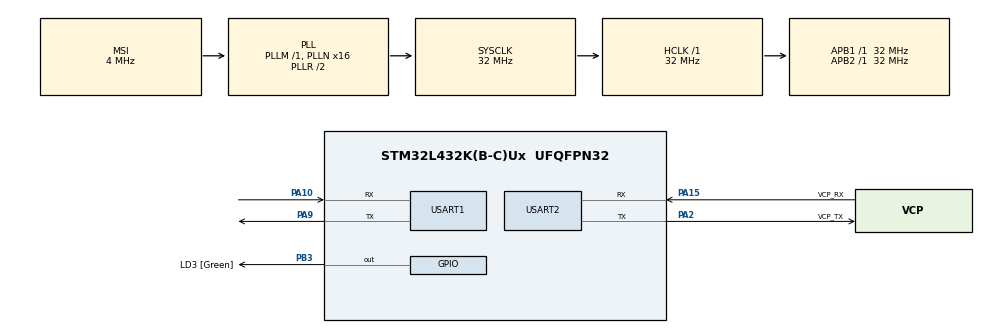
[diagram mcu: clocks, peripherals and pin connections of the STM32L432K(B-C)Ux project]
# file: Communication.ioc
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Mcu.Family=STM32L4
Mcu.Name=STM32L432K(B-C)Ux
Mcu.Package=UFQFPN32
NVIC.PriorityGroup=NVIC_PRIORITYGROUP_4
NVIC.USART1_IRQn=true\:0\:0\:false\:false\:true
NVIC.USART2_IRQn=true\:0\:0\:false\:false\:true
PA0.GPIO_Label=MCO [High speed clock in]
PA0.Signal=RCC_CK_IN
PA10.Mode=Asynchronous
PA10.Signal=USART1_RX
PA13\ (JTMS-SWDIO).GPIO_Label=SWDIO
PA13\ (JTMS-SWDIO).Signal=SYS_JTMS-SWDIO
PA14\ (JTCK-SWCLK).GPIO_Label=SWCLK
PA14\ (JTCK-SWCLK).Signal=SYS_JTCK-SWCLK
PA15\ (JTDI).GPIO_Label=VCP_RX
PA15\ (JTDI).Mode=Asynchronous
PA15\ (JTDI).Signal=USART2_RX
PA2.GPIO_Label=VCP_TX
PA2.Mode=Asynchronous
PA2.Signal=USART2_TX
PA9.Mode=Asynchronous
PA9.Signal=USART1_TX
PB3\ (JTDO-TRACESWO).GPIO_Label=LD3 [Green]
PB3\ (JTDO-TRACESWO).Signal=GPIO_Output
PC14-OSC32_IN\ (PC14).Signal=RCC_OSC32_IN
PC15-OSC32_OUT\ (PC15).Signal=RCC_OSC32_OUT
ProjectManager.HeapSize=0x200
ProjectManager.StackSize=0x400
ProjectManager.TargetToolchain=SW4STM32
RCC.AHBFreq_Value=32000000
RCC.APB1Freq_Value=32000000
RCC.APB1TimFreq_Value=32000000
RCC.APB2Freq_Value=32000000
RCC.APB2TimFreq_Value=32000000
RCC.CortexFreq_Value=32000000
RCC.HCLKFreq_Value=32000000
RCC.HSE_VALUE=8000000
RCC.HSI16_VALUE=16000000
RCC.HSI48_VALUE=48000000
RCC.HSI_VALUE=16000000
RCC.LSE_VALUE=32768
RCC.MSI_VALUE=4000000
RCC.PLLMUL=RCC_PLLMUL_4
RCC.PLLN=16
RCC.SYSCLKFreq_VALUE=32000000
RCC.SYSCLKSource=RCC_SYSCLKSOURCE_PLLCLK
RCC.VCOOutputFreq_Value=64000000
USART1.VirtualMode-Asynchronous=VM_ASYNC
USART1.WordLength=WORDLENGTH_8B
USART2.VirtualMode-Asynchronous=VM_ASYNC
USART2.WordLength=WORDLENGTH_8B
board=NUCLEO-L432KC

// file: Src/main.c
/**
  ******************************************************************************
  * File Name          : main.c
  * Description        : Main program body
  ******************************************************************************
  ** This notice applies to any and all portions of this file
  * that are not between comment pairs USER CODE BEGIN and
  * USER CODE END. Other portions of this file, whether
  * inserted by the user or by software development tools
  * are owned by their respective copyright owners.
  *
  * COPYRIGHT(c) 2018 STMicroelectronics
  *
  * Redistribution and use in source and binary forms, with or without modification,
  * are permitted provided that the following conditions are met:
  *   1. Redistributions of source code must retain the above copyright notice,
  *      this list of conditions and the following disclaimer.
  *   2. Redistributions in binary form must reproduce the above copyright notice,
  *      this list of conditions and the following disclaimer in the documentation
  *      and/or other materials provided with the distribution.
  *   3. Neither the name of STMicroelectronics nor the names of its contributors
  *      may be used to endorse or promote products derived from this software
  *      without specific prior written permission.
  *
  * THIS SOFTWARE IS PROVIDED BY THE COPYRIGHT HOLDERS AND CONTRIBUTORS "AS IS"
  * AND ANY EXPRESS OR IMPLIED WARRANTIES, INCLUDING, BUT NOT LIMITED TO, THE
  * IMPLIED WARRANTIES OF MERCHANTABILITY AND FITNESS FOR A PARTICULAR PURPOSE ARE
  * DISCLAIMED. IN NO EVENT SHALL THE COPYRIGHT HOLDER OR CONTRIBUTORS BE LIABLE
  * FOR ANY DIRECT, INDIRECT, INCIDENTAL, SPECIAL, EXEMPLARY, OR CONSEQUENTIAL
  * DAMAGES (INCLUDING, BUT NOT LIMITED TO, PROCUREMENT OF SUBSTITUTE GOODS OR
  * SERVICES; LOSS OF USE, DATA, OR PROFITS; OR BUSINESS INTERRUPTION) HOWEVER
  * CAUSED AND ON ANY THEORY OF LIABILITY, WHETHER IN CONTRACT, STRICT LIABILITY,
  * OR TORT (INCLUDING NEGLIGENCE OR OTHERWISE) ARISING IN ANY WAY OUT OF THE USE
  * OF THIS SOFTWARE, EVEN IF ADVISED OF THE POSSIBILITY OF SUCH DAMAGE.
  *
  ******************************************************************************
  */
#include "main.h"
#include "stm32l4xx_hal.h"

/* USER CODE BEGIN Includes */
#include <robotGoal.h>
#include <robotState.h>
#include "serial.h"
#include "string.h"
/* USER CODE END Includes */

UART_HandleTypeDef huart1;
UART_HandleTypeDef huart2;

/* USER CODE BEGIN PV */
/* Private variables ---------------------------------------------------------*/
volatile uint8_t ledState;
uint8_t replying;
uint8_t connected;
RobotGoal robotGoal;
RobotGoal *robotGoalPtr;
uint8_t robotGoalBuffer[sizeof(RobotGoal)];

RobotState robotState, *robotStatePtr;

/* USER CODE END PV */

void SystemClock_Config(void);
static void MX_GPIO_Init(void);
static void MX_USART2_UART_Init(void);
static void MX_USART1_UART_Init(void);

/* USER CODE BEGIN PFP */
/* Private function prototypes -----------------------------------------------*/

/* USER CODE END PFP */

int main(void)
{

  /* MCU Configuration----------------------------------------------------------*/

  /* Reset of all peripherals, Initializes the Flash interface and the Systick. */
  HAL_Init();

  /* Configure the system clock */
  SystemClock_Config();

  /* Initialize all configured peripherals */
  MX_GPIO_Init();
  MX_USART2_UART_Init();
  MX_USART1_UART_Init();

  /* USER CODE BEGIN 2 */

	// Blink the LED
	ledState = 0;
	replying = 0;
	connected = 0;

	// Recieving
	robotGoal.id = 0;
	robotGoalPtr = &robotGoal;
	memset(robotGoal.msg,0,strlen(robotGoal.msg));
	HAL_UART_Receive_IT(&huart1, (uint8_t *) robotGoalPtr, sizeof(RobotGoal));

	// Sending
	robotState.id = 1;
	robotStatePtr = &robotState;
	memset(robotState.msg,0,strlen(robotState.msg));

  /* USER CODE END 2 */

  /* Infinite loop */
	while (1) {

  /* USER CODE BEGIN 3 */

		if (!connected) {
			ledState = !ledState;
			HAL_GPIO_WritePin(LD3_GPIO_Port, LD3_Pin, ledState);
			sprintf(robotState.msg, "START");
			send_state(robotStatePtr);
			HAL_Delay(1000);
		}
		else {
			sprintf(robotState.msg, "NACK");
			send_state(robotStatePtr);
			HAL_UART_Receive_IT(&huart1, (uint8_t *) robotGoalPtr, sizeof(RobotGoal));
			HAL_Delay(1000);
		}
	}
  /* USER CODE END 3 */

}

/** System Clock Configuration
*/
void SystemClock_Config(void)
{

  RCC_OscInitTypeDef RCC_OscInitStruct;
  RCC_ClkInitTypeDef RCC_ClkInitStruct;
  RCC_PeriphCLKInitTypeDef PeriphClkInit;

    /**Initializes the CPU, AHB and APB busses clocks
    */
  RCC_OscInitStruct.OscillatorType = RCC_OSCILLATORTYPE_MSI;
  RCC_OscInitStruct.MSIState = RCC_MSI_ON;
  RCC_OscInitStruct.MSICalibrationValue = 0;
  RCC_OscInitStruct.MSIClockRange = RCC_MSIRANGE_6;
  RCC_OscInitStruct.PLL.PLLState = RCC_PLL_ON;
  RCC_OscInitStruct.PLL.PLLSource = RCC_PLLSOURCE_MSI;
  RCC_OscInitStruct.PLL.PLLM = 1;
  RCC_OscInitStruct.PLL.PLLN = 16;
  RCC_OscInitStruct.PLL.PLLP = RCC_PLLP_DIV7;
  RCC_OscInitStruct.PLL.PLLQ = RCC_PLLQ_DIV2;
  RCC_OscInitStruct.PLL.PLLR = RCC_PLLR_DIV2;
  if (HAL_RCC_OscConfig(&RCC_OscInitStruct) != HAL_OK)
  {
    _Error_Handler(__FILE__, __LINE__);
  }

    /**Initializes the CPU, AHB and APB busses clocks
    */
  RCC_ClkInitStruct.ClockType = RCC_CLOCKTYPE_HCLK|RCC_CLOCKTYPE_SYSCLK
                              |RCC_CLOCKTYPE_PCLK1|RCC_CLOCKTYPE_PCLK2;
  RCC_ClkInitStruct.SYSCLKSource = RCC_SYSCLKSOURCE_PLLCLK;
  RCC_ClkInitStruct.AHBCLKDivider = RCC_SYSCLK_DIV1;
  RCC_ClkInitStruct.APB1CLKDivider = RCC_HCLK_DIV1;
  RCC_ClkInitStruct.APB2CLKDivider = RCC_HCLK_DIV1;

  if (HAL_RCC_ClockConfig(&RCC_ClkInitStruct, FLASH_LATENCY_1) != HAL_OK)
  {
    _Error_Handler(__FILE__, __LINE__);
  }

  PeriphClkInit.PeriphClockSelection = RCC_PERIPHCLK_USART1|RCC_PERIPHCLK_USART2;
  PeriphClkInit.Usart1ClockSelection = RCC_USART1CLKSOURCE_PCLK2;
  PeriphClkInit.Usart2ClockSelection = RCC_USART2CLKSOURCE_PCLK1;
  if (HAL_RCCEx_PeriphCLKConfig(&PeriphClkInit) != HAL_OK)
  {
    _Error_Handler(__FILE__, __LINE__);
  }

    /**Configure the main internal regulator output voltage
    */
  if (HAL_PWREx_ControlVoltageScaling(PWR_REGULATOR_VOLTAGE_SCALE1) != HAL_OK)
  {
    _Error_Handler(__FILE__, __LINE__);
  }

    /**Configure the Systick interrupt time
    */
  HAL_SYSTICK_Config(HAL_RCC_GetHCLKFreq()/1000);

    /**Configure the Systick
    */
  HAL_SYSTICK_CLKSourceConfig(SYSTICK_CLKSOURCE_HCLK);

  /* SysTick_IRQn interrupt configuration */
  HAL_NVIC_SetPriority(SysTick_IRQn, 1, 0);
}

/* USART1 init function */
static void MX_USART1_UART_Init(void)
{

  huart1.Instance = USART1;
  huart1.Init.BaudRate = 115200;
  huart1.Init.WordLength = UART_WORDLENGTH_8B;
  huart1.Init.StopBits = UART_STOPBITS_1;
  huart1.Init.Parity = UART_PARITY_NONE;
  huart1.Init.Mode = UART_MODE_TX_RX;
  huart1.Init.HwFlowCtl = UART_HWCONTROL_NONE;
  huart1.Init.OverSampling = UART_OVERSAMPLING_16;
  huart1.Init.OneBitSampling = UART_ONE_BIT_SAMPLE_DISABLE;
  huart1.AdvancedInit.AdvFeatureInit = UART_ADVFEATURE_NO_INIT;
  if (HAL_UART_Init(&huart1) != HAL_OK)
  {
    _Error_Handler(__FILE__, __LINE__);
  }

}

/* USART2 init function */
static void MX_USART2_UART_Init(void)
{

  huart2.Instance = USART2;
  huart2.Init.BaudRate = 115200;
  huart2.Init.WordLength = UART_WORDLENGTH_8B;
  huart2.Init.StopBits = UART_STOPBITS_1;
  huart2.Init.Parity = UART_PARITY_NONE;
  huart2.Init.Mode = UART_MODE_TX_RX;
  huart2.Init.HwFlowCtl = UART_HWCONTROL_NONE;
  huart2.Init.OverSampling = UART_OVERSAMPLING_16;
  huart2.Init.OneBitSampling = UART_ONE_BIT_SAMPLE_DISABLE;
  huart2.AdvancedInit.AdvFeatureInit = UART_ADVFEATURE_NO_INIT;
  if (HAL_UART_Init(&huart2) != HAL_OK)
  {
    _Error_Handler(__FILE__, __LINE__);
  }

}

/** Configure pins as
        * Analog
        * Input
        * Output
        * EVENT_OUT
        * EXTI
*/
static void MX_GPIO_Init(void)
{

  GPIO_InitTypeDef GPIO_InitStruct;

  /* GPIO Ports Clock Enable */
  __HAL_RCC_GPIOC_CLK_ENABLE();
  __HAL_RCC_GPIOA_CLK_ENABLE();
  __HAL_RCC_GPIOB_CLK_ENABLE();

  /*Configure GPIO pin Output Level */
  HAL_GPIO_WritePin(LD3_GPIO_Port, LD3_Pin, GPIO_PIN_RESET);

  /*Configure GPIO pin : LD3_Pin */
  GPIO_InitStruct.Pin = LD3_Pin;
  GPIO_InitStruct.Mode = GPIO_MODE_OUTPUT_PP;
  GPIO_InitStruct.Pull = GPIO_NOPULL;
  GPIO_InitStruct.Speed = GPIO_SPEED_FREQ_LOW;
  HAL_GPIO_Init(LD3_GPIO_Port, &GPIO_InitStruct);

}

/* USER CODE BEGIN 4 */
void HAL_UART_RxCpltCallback(UART_HandleTypeDef * huart) {
	if (huart == &huart1) {

		if(!connected) {
			if (!strcmp((char *) robotGoal.msg, "BEGIN")) {
				connected = 1;
			}
		} else {
			// Checksum

		}

		memset(robotState.msg,0,strlen(robotState.msg));

		if (connected) {
			sprintf(robotState.msg, "ACK");
		} else {
			sprintf(robotState.msg, "NACK");
		}

		robotState.id = robotGoal.id;
		send_state(robotStatePtr);
		HAL_UART_Transmit_IT(&huart2, (uint8_t *) robotGoalPtr, sizeof(RobotGoal));
	}
	HAL_UART_Receive_IT(&huart1, (uint8_t *) robotGoalPtr, sizeof(RobotGoal));
}
/* USER CODE END 4 */

void _Error_Handler(char * file, int line)
{
	while (1) {
	}
}

/************************ (C) COPYRIGHT STMicroelectronics *****END OF FILE****/
